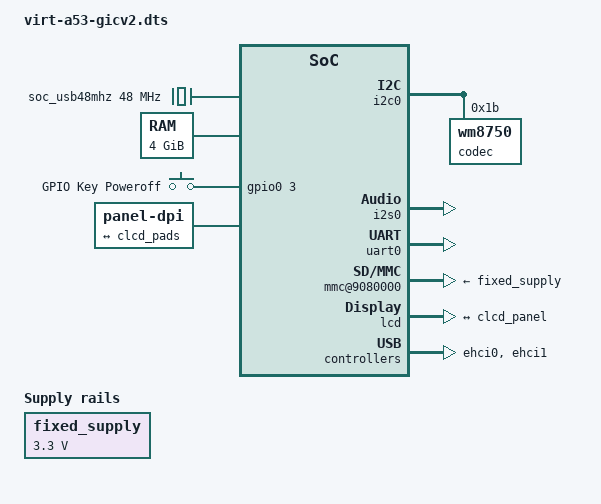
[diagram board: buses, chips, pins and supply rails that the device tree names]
#include <dt-bindings/interrupt-controller/arm-gic.h>
#include <dt-bindings/input/input.h>

#include "virt-a53-psci.dtsi"

/ {
	sound {
		compatible = "qemu,virt-audio-wm8750";
		model = "qemu-audio";
		audio-cpu = <&i2s0>;
		audio-codec = <&codec>;
		audio-routing =
			"Headphone Jack", "LOUT1",
			"Headphone Jack", "ROUT1",
			"Ext Spk", "LOUT2",
			"Ext Spk", "ROUT2",
			"Mic Jack", "LINPUT1",
			"Mic Jack", "RINPUT1";
	};

	timer {
		compatible = "arm,armv8-timer", "arm,armv7-timer";
		interrupts = <GIC_PPI 0x0d IRQ_TYPE_LEVEL_HIGH>,
			     <GIC_PPI 0x0e IRQ_TYPE_LEVEL_HIGH>,
			     <GIC_PPI 0x0b IRQ_TYPE_LEVEL_HIGH>,
			     <GIC_PPI 0x0a IRQ_TYPE_LEVEL_HIGH>;
		always-on;
	};

	sysclk: apb-pclk {
		compatible = "fixed-clock";
		clock-output-names = "clk24mhz";
		clock-frequency = <24000000>;
		#clock-cells = <0>;
	};

	soc_usb48mhz: clk48mhz {
		compatible = "fixed-clock";
		#clock-cells = <0>;
		clock-frequency = <48000000>;
		clock-output-names = "clk48mhz";
	};

	fixed_supply: fixed-regulator {
		compatible = "regulator-fixed";
		regulator-name = "3V3";
		regulator-min-microvolt = <3300000>;
		regulator-max-microvolt = <3300000>;
		regulator-always-on;
	};

	memory@40000000 {
		device_type = "memory";
		reg = <0 0x40000000 0x1 0x00000000>;
	};

	gic: interrupt-controller@8000000 {
		compatible = "arm,gic-400";
		reg = <0 0x8000000 0 0x10000>,
		 	<0 0x8010000 0 0x10000>;
		interrupt-controller;
		#size-cells = <2>;
		#address-cells = <2>;
		#interrupt-cells = <3>;
	};

	pmu {
		compatible = "arm,armv8-pmuv3";
		interrupts = <GIC_PPI 0x07 IRQ_TYPE_LEVEL_HIGH>;
		interrupt-affinity = <&A53_0>, <&A53_1>, <&A53_2>, <&A53_3>;
	};

	i2c0: i2c@9082000 {
		compatible = "arm,versatile-i2c";
		reg = <0 0x09082000 0 0x1000>;
		#address-cells = <1>;
		#size-cells = <0>;
		codec: wm8750@1b {
			compatible = "wm8750";
			reg = <0x1b>;
		};
	};

	i2s0: i2s@9083000 {
		compatible = "virt-i2s";
		reg = <0 0x09083000 0 0x1000>;
		dmas = <&dma 0 2>, <&dma 1 2>;
		dma-names = "tx", "rx";
	};

	lan9118@a009000 {
		compatible = "smsc,lan9118", "smsc,lan9115";
		reg = <0 0x0a009000 0 0x10000>;
		phy-mode = "mii";
		interrupts = <GIC_SPI 15 IRQ_TYPE_LEVEL_HIGH>;
		reg-io-width = <4>;
		smsc,irq-active-high;
		smsc,irq-push-pull;
	};

	gpio-keys {
		compatible = "gpio-keys";
		#size-cells = <0>;
		#address-cells = <1>;

		poweroff {
			label = "GPIO Key Poweroff";
			linux,code = <KEY_POWER>;
			gpios = <&gpio0 3 0>;
			};
	};

	amba {
		compatible = "simple-bus";
		#address-cells = <2>;
		#size-cells = <2>;
		ranges;

		gpio0: gpio0@9030000 {
			compatible = "arm,pl061","arm,primecell";
			reg = <0 0x9030000 0 0x1000>;
			#gpio-cells = <2>;
			gpio-controller;
			interrupts = <GIC_SPI 0x07 IRQ_TYPE_LEVEL_HIGH>;
			clock-names = "apb_pclk";
			clocks = <&sysclk>;
		};

		rtc@9010000 {
			compatible = "arm,pl031", "arm,primecell";
			reg = <0 0x9010000 0 0x1000>;
			interrupts = <GIC_SPI 0x02 IRQ_TYPE_LEVEL_HIGH>;
			clock-names = "apb_pclk";
			clocks = <&sysclk>;
		};

		uart0: uart@9000000 {
			compatible = "arm,pl011", "arm,primecell";
			reg = <0 0x9000000 0 0x1000>;
			interrupts = <GIC_SPI 0x01 IRQ_TYPE_LEVEL_HIGH>;
			clock-names = "uartclk","apb_pclk";
			clocks = <&sysclk &sysclk>;
		};

		mmc@9080000 {
			compatible = "arm,pl180", "arm,primecell";
			reg = <0 0x09080000 0 0x1000>;
			interrupts =
				<GIC_SPI 9 IRQ_TYPE_LEVEL_HIGH>,
				<GIC_SPI 10 IRQ_TYPE_LEVEL_HIGH>;
			vmmc-supply = <&fixed_supply>;
			clock-names = "apb_pclk";
			clocks = <&sysclk>;
			max-frequency = <12000000>;
		};

		dma: dma@a005000 {
			compatible = "arm,pl081", "arm,primecell";
			reg = <0 0x0a005000 0 0x1000>;
			interrupts = <GIC_SPI 13 IRQ_TYPE_LEVEL_HIGH>;
			clocks = <&sysclk>;
			clock-names = "apb_pclk";
			#dma-cells = <2>;
		};

		lcd: lcd@a007000 {
			compatible = "arm,pl111", "arm,primecell";
			reg = <0 0x0a007000 0 0x1000>;
			interrupts = <GIC_SPI 14 IRQ_TYPE_LEVEL_HIGH>;
			clocks = <&sysclk>, <&sysclk>;
			clock-names = "clcd", "apb_pclk";

			port {
				clcd_pads: endpoint {
					remote-endpoint = <&clcd_panel>;
					arm,pl11x,tft-r0g0b0-pads = <0 8 16>;
				};
			};
		};

		keyboard: keyboard@a020000 {
			compatible = "arm,pl050", "arm,primecell";
			reg = <0 0x0a020000 0 0x1000>;
			interrupts = <GIC_SPI 17 IRQ_TYPE_LEVEL_HIGH>;
			clocks = <&sysclk>, <&sysclk>;
			clock-names = "KMIREFCLK", "apb_pclk";
		};

		mouse: mouse@a030000 {
			compatible = "arm,pl050", "arm,primecell";
			reg = <0 0x0a030000 0 0x1000>;
			interrupts = <GIC_SPI 18 IRQ_TYPE_LEVEL_HIGH>;
			clocks = <&sysclk>, <&sysclk>;
			clock-names = "KMIREFCLK", "apb_pclk";
		};

		ehci0: usb@a040000 {
			compatible = "qemu,usb";
			reg = <0 0x0a040000 0 0x1000>;
			interrupts = <GIC_SPI 19 IRQ_TYPE_LEVEL_HIGH>;
			clocks = <&soc_usb48mhz>;
		};

		ehci1: usb@a050000 {
			compatible = "qemu,usb";
			reg = <0 0x0a050000 0 0x1000>;
			interrupts = <GIC_SPI 20 IRQ_TYPE_LEVEL_HIGH>;
			clocks = <&soc_usb48mhz>;
		};
	};

	panel {
		compatible = "panel-dpi";

		port {
			clcd_panel: endpoint {
				remote-endpoint = <&clcd_pads>;
			};
		};

		panel-timing {
			clock-frequency = <25175000>;
			hactive = <640>;
			hback-porch = <40>;
			hfront-porch = <24>;
			hsync-len = <96>;
			vactive = <480>;
			vback-porch = <32>;
			vfront-porch = <11>;
			vsync-len = <2>;
		};
	};
};
